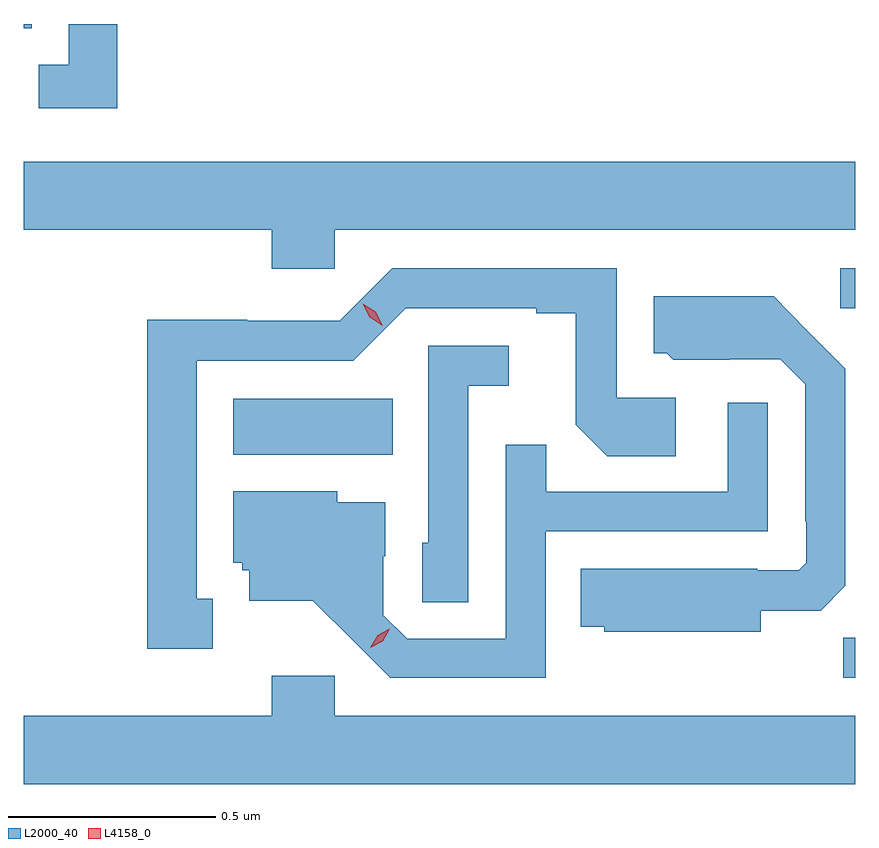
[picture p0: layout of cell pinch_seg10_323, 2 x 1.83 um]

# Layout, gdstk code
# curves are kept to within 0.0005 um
import gdstk
lib = gdstk.Library(unit=1e-6, precision=1e-09)
def R(c, l, rs):  # rectangles x0, y0, x1, y1
    for r in rs: c.add(gdstk.rectangle(r[:2], r[2:], *l))
def P(c, l, *ps):  # polygons
    for p in ps: c.add(gdstk.Polygon(p, *l))
L2000_40 = (2000, 40)
L4158_0 = (4158, 0)

pinch_seg10_323 = lib.new_cell('pinch_seg10_323')
R(pinch_seg10_323, L2000_40, [(411.898,1303.236,411.928,1303.331), (410.432,1303.772,410.816,1303.906), (411.891,1304.124,411.928,1304.22), (409.928,1304.797,409.948,1304.807)])
P(pinch_seg10_323, L2000_40, [(410.153,1304.807),(410.037,1304.807),(410.037,1304.709),(409.965,1304.709),(409.965,1304.604),(410.153,1304.604)],
  [(410.676,1304.312),(411.928,1304.312),(411.928,1304.476),(409.928,1304.476),(409.928,1304.312),(410.525,1304.312),(410.525,1304.219),(410.676,1304.219)],
  [(410.383,1303.425),(410.344,1303.425),(410.344,1303.998),(410.721,1303.998),(410.847,1304.124),(411.161,1304.124),(411.161,1304.112),(411.255,1304.112),(411.255,1303.844),(411.331,1303.768),(411.496,1303.768),(411.496,1303.908),(411.354,1303.908),(411.354,1304.22),(410.814,1304.22),(410.688,1304.094),(410.466,1304.094),(410.466,1304.096),(410.226,1304.096),(410.226,1303.305),(410.383,1303.305)],
  [(411.7,1303.397),(411.844,1303.397),(411.903,1303.456),(411.903,1303.978),(411.731,1304.152),(411.443,1304.152),(411.443,1304.016),(411.474,1304.016),(411.49,1304),(411.624,1304),(411.624,1304.001),(411.747,1304.001),(411.807,1303.941),(411.807,1303.612),(411.81,1303.612),(411.81,1303.512),(411.792,1303.494),(411.692,1303.494),(411.692,1303.498),(411.268,1303.498),(411.268,1303.358),(411.324,1303.358),(411.324,1303.346),(411.7,1303.346)],
  [(410.997,1303.937),(411.094,1303.937),(411.094,1304.034),(410.901,1304.034),(410.901,1303.56),(410.886,1303.56),(410.886,1303.417),(410.997,1303.417)],
  [(411.183,1303.587),(411.717,1303.587),(411.717,1303.897),(411.621,1303.897),(411.621,1303.683),(411.185,1303.683),(411.185,1303.796),(411.087,1303.796),(411.087,1303.329),(410.85,1303.329),(410.793,1303.386),(410.793,1303.528),(410.797,1303.528),(410.797,1303.657),(410.682,1303.657),(410.682,1303.684),(410.432,1303.684),(410.432,1303.512),(410.454,1303.512),(410.454,1303.494),(410.471,1303.494),(410.471,1303.421),(410.623,1303.421),(410.81,1303.236),(411.183,1303.236)],
  [(411.928,1303.144),(410.676,1303.144),(410.676,1303.24),(410.525,1303.24),(410.525,1303.144),(409.928,1303.144),(409.928,1302.98),(411.928,1302.98)])
P(pinch_seg10_323, L4158_0, [(410.762,1303.308),(410.762,1303.308),(410.779,1303.338),(410.809,1303.353),(410.809,1303.353),(410.809,1303.353),(410.792,1303.323),(410.762,1303.308)],
  [(410.792,1304.082),(410.76,1304.102),(410.743,1304.134),(410.743,1304.135),(410.743,1304.135),(410.775,1304.115),(410.792,1304.082),(410.792,1304.082)])

lib.write_gds('pinch_seg10_323.gds')
